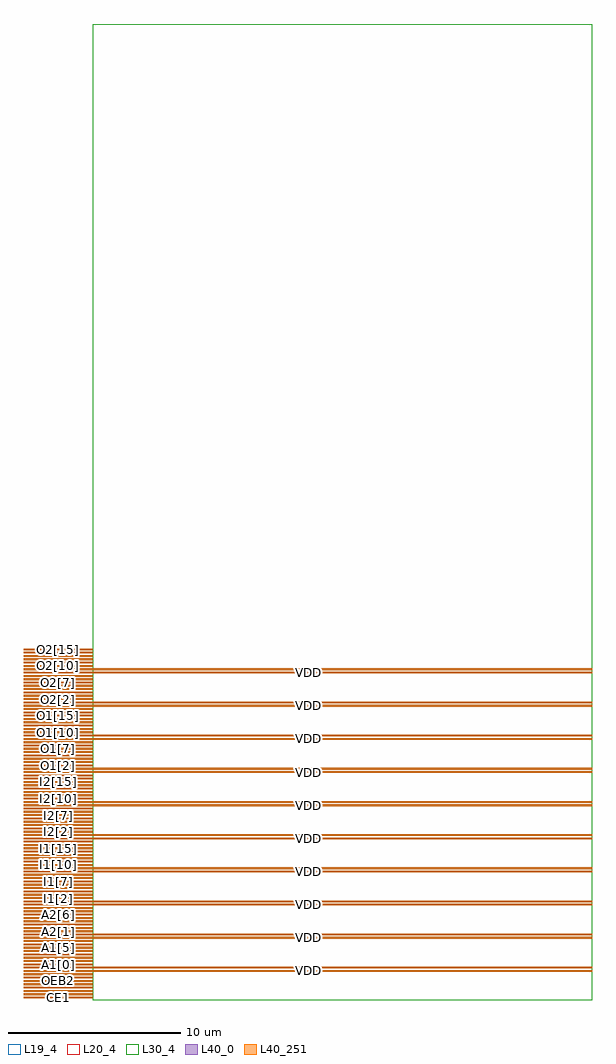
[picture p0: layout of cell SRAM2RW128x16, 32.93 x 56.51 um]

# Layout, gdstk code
import gdstk
lib = gdstk.Library(unit=1e-6, precision=1e-09)
def R(c, l, rs):  # rectangles x0, y0, x1, y1
    for r in rs: c.add(gdstk.rectangle(r[:2], r[2:], *l))
def A(c, l, x, y, w, h, nx, ny, dx, dy):  # array of equal rectangles
    R(c, l, [(x+i*dx, y+j*dy, x+i*dx+w, y+j*dy+h) for i in range(nx) for j in range(ny)])
L19_4 = (19, 4)
L20_4 = (20, 4)
L30_4 = (30, 4)
L40_0 = (40, 0)
L40_251 = (40, 251)

sram2rw128x16 = lib.new_cell('SRAM2RW128x16')
R(sram2rw128x16, L19_4, [(4,0,32.928,56.512)])
R(sram2rw128x16, L20_4, [(4,0,32.928,56.512)])
R(sram2rw128x16, L30_4, [(4,0,32.928,56.512)])
A(sram2rw128x16, L40_0, 0, 0.096, 4, 0.096, 1, 8, 0, 0.192)
A(sram2rw128x16, L40_0, 0, 2.016, 4, 0.096, 1, 8, 0, 0.192)
A(sram2rw128x16, L40_0, 0, 3.936, 4, 0.096, 1, 8, 0, 0.192)
A(sram2rw128x16, L40_0, 0, 5.856, 4, 0.096, 1, 8, 0, 0.192)
A(sram2rw128x16, L40_0, 0, 7.776, 4, 0.096, 1, 8, 0, 0.192)
A(sram2rw128x16, L40_0, 0, 9.696, 4, 0.096, 1, 8, 0, 0.192)
A(sram2rw128x16, L40_0, 0, 11.616, 4, 0.096, 1, 8, 0, 0.192)
A(sram2rw128x16, L40_0, 0, 13.536, 4, 0.096, 1, 8, 0, 0.192)
A(sram2rw128x16, L40_0, 0, 15.456, 4, 0.096, 1, 8, 0, 0.192)
A(sram2rw128x16, L40_0, 0, 17.376, 4, 0.096, 1, 8, 0, 0.192)
A(sram2rw128x16, L40_0, 0, 19.296, 4, 0.096, 1, 6, 0, 0.192)
R(sram2rw128x16, L40_0, [(0,1.632,32.928,1.728), (0,1.824,32.928,1.92), (0,3.552,32.928,3.648), (0,3.744,32.928,3.84), (0,5.472,32.928,5.568), (0,5.664,32.928,5.76), (0,7.392,32.928,7.488), (0,7.584,32.928,7.68), (0,9.312,32.928,9.408), (0,9.504,32.928,9.6), (0,11.232,32.928,11.328), (0,11.424,32.928,11.52), (0,13.152,32.928,13.248), (0,13.344,32.928,13.44), (0,15.072,32.928,15.168), (0,15.264,32.928,15.36), (0,16.992,32.928,17.088), (0,17.184,32.928,17.28), (0,18.912,32.928,19.008), (0,19.104,32.928,19.2)])
A(sram2rw128x16, L40_251, 0, 0.096, 4, 0.096, 1, 8, 0, 0.192)
A(sram2rw128x16, L40_251, 0, 2.016, 4, 0.096, 1, 8, 0, 0.192)
A(sram2rw128x16, L40_251, 0, 3.936, 4, 0.096, 1, 8, 0, 0.192)
A(sram2rw128x16, L40_251, 0, 5.856, 4, 0.096, 1, 8, 0, 0.192)
A(sram2rw128x16, L40_251, 0, 7.776, 4, 0.096, 1, 8, 0, 0.192)
A(sram2rw128x16, L40_251, 0, 9.696, 4, 0.096, 1, 8, 0, 0.192)
A(sram2rw128x16, L40_251, 0, 11.616, 4, 0.096, 1, 8, 0, 0.192)
A(sram2rw128x16, L40_251, 0, 13.536, 4, 0.096, 1, 8, 0, 0.192)
A(sram2rw128x16, L40_251, 0, 15.456, 4, 0.096, 1, 8, 0, 0.192)
A(sram2rw128x16, L40_251, 0, 17.376, 4, 0.096, 1, 8, 0, 0.192)
A(sram2rw128x16, L40_251, 0, 19.296, 4, 0.096, 1, 6, 0, 0.192)
R(sram2rw128x16, L40_251, [(0,1.632,32.928,1.728), (0,1.824,32.928,1.92), (0,3.552,32.928,3.648), (0,3.744,32.928,3.84), (0,5.472,32.928,5.568), (0,5.664,32.928,5.76), (0,7.392,32.928,7.488), (0,7.584,32.928,7.68), (0,9.312,32.928,9.408), (0,9.504,32.928,9.6), (0,11.232,32.928,11.328), (0,11.424,32.928,11.52), (0,13.152,32.928,13.248), (0,13.344,32.928,13.44), (0,15.072,32.928,15.168), (0,15.264,32.928,15.36), (0,16.992,32.928,17.088), (0,17.184,32.928,17.28), (0,18.912,32.928,19.008), (0,19.104,32.928,19.2)])
sram2rw128x16.add(gdstk.Label('CE1', (2,0.144), layer=40, texttype=0))
sram2rw128x16.add(gdstk.Label('CE2', (2,0.336), layer=40, texttype=0))
sram2rw128x16.add(gdstk.Label('WEB1', (2,0.528), layer=40, texttype=0))
sram2rw128x16.add(gdstk.Label('WEB2', (2,0.72), layer=40, texttype=0))
sram2rw128x16.add(gdstk.Label('OEB1', (2,0.912), layer=40, texttype=0))
sram2rw128x16.add(gdstk.Label('OEB2', (2,1.104), layer=40, texttype=0))
sram2rw128x16.add(gdstk.Label('CSB1', (2,1.296), layer=40, texttype=0))
sram2rw128x16.add(gdstk.Label('CSB2', (2,1.488), layer=40, texttype=0))
sram2rw128x16.add(gdstk.Label('A1[0]', (2,2.064), layer=40, texttype=0))
sram2rw128x16.add(gdstk.Label('A1[1]', (2,2.256), layer=40, texttype=0))
sram2rw128x16.add(gdstk.Label('A1[2]', (2,2.448), layer=40, texttype=0))
sram2rw128x16.add(gdstk.Label('A1[3]', (2,2.64), layer=40, texttype=0))
sram2rw128x16.add(gdstk.Label('A1[4]', (2,2.832), layer=40, texttype=0))
sram2rw128x16.add(gdstk.Label('A1[5]', (2,3.024), layer=40, texttype=0))
sram2rw128x16.add(gdstk.Label('A1[6]', (2,3.216), layer=40, texttype=0))
sram2rw128x16.add(gdstk.Label('A2[0]', (2,3.408), layer=40, texttype=0))
sram2rw128x16.add(gdstk.Label('A2[1]', (2,3.984), layer=40, texttype=0))
sram2rw128x16.add(gdstk.Label('A2[2]', (2,4.176), layer=40, texttype=0))
sram2rw128x16.add(gdstk.Label('A2[3]', (2,4.368), layer=40, texttype=0))
sram2rw128x16.add(gdstk.Label('A2[4]', (2,4.56), layer=40, texttype=0))
sram2rw128x16.add(gdstk.Label('A2[5]', (2,4.752), layer=40, texttype=0))
sram2rw128x16.add(gdstk.Label('A2[6]', (2,4.944), layer=40, texttype=0))
sram2rw128x16.add(gdstk.Label('I1[0]', (2,5.136), layer=40, texttype=0))
sram2rw128x16.add(gdstk.Label('I1[1]', (2,5.328), layer=40, texttype=0))
sram2rw128x16.add(gdstk.Label('I1[2]', (2,5.904), layer=40, texttype=0))
sram2rw128x16.add(gdstk.Label('I1[3]', (2,6.096), layer=40, texttype=0))
sram2rw128x16.add(gdstk.Label('I1[4]', (2,6.288), layer=40, texttype=0))
sram2rw128x16.add(gdstk.Label('I1[5]', (2,6.48), layer=40, texttype=0))
sram2rw128x16.add(gdstk.Label('I1[6]', (2,6.672), layer=40, texttype=0))
sram2rw128x16.add(gdstk.Label('I1[7]', (2,6.864), layer=40, texttype=0))
sram2rw128x16.add(gdstk.Label('I1[8]', (2,7.056), layer=40, texttype=0))
sram2rw128x16.add(gdstk.Label('I1[9]', (2,7.248), layer=40, texttype=0))
sram2rw128x16.add(gdstk.Label('I1[10]', (2,7.824), layer=40, texttype=0))
sram2rw128x16.add(gdstk.Label('I1[11]', (2,8.016), layer=40, texttype=0))
sram2rw128x16.add(gdstk.Label('I1[12]', (2,8.208), layer=40, texttype=0))
sram2rw128x16.add(gdstk.Label('I1[13]', (2,8.4), layer=40, texttype=0))
sram2rw128x16.add(gdstk.Label('I1[14]', (2,8.592), layer=40, texttype=0))
sram2rw128x16.add(gdstk.Label('I1[15]', (2,8.784), layer=40, texttype=0))
sram2rw128x16.add(gdstk.Label('I2[0]', (2,8.976), layer=40, texttype=0))
sram2rw128x16.add(gdstk.Label('I2[1]', (2,9.168), layer=40, texttype=0))
sram2rw128x16.add(gdstk.Label('I2[2]', (2,9.744), layer=40, texttype=0))
sram2rw128x16.add(gdstk.Label('I2[3]', (2,9.936), layer=40, texttype=0))
sram2rw128x16.add(gdstk.Label('I2[4]', (2,10.128), layer=40, texttype=0))
sram2rw128x16.add(gdstk.Label('I2[5]', (2,10.32), layer=40, texttype=0))
sram2rw128x16.add(gdstk.Label('I2[6]', (2,10.512), layer=40, texttype=0))
sram2rw128x16.add(gdstk.Label('I2[7]', (2,10.704), layer=40, texttype=0))
sram2rw128x16.add(gdstk.Label('I2[8]', (2,10.896), layer=40, texttype=0))
sram2rw128x16.add(gdstk.Label('I2[9]', (2,11.088), layer=40, texttype=0))
sram2rw128x16.add(gdstk.Label('I2[10]', (2,11.664), layer=40, texttype=0))
sram2rw128x16.add(gdstk.Label('I2[11]', (2,11.856), layer=40, texttype=0))
sram2rw128x16.add(gdstk.Label('I2[12]', (2,12.048), layer=40, texttype=0))
sram2rw128x16.add(gdstk.Label('I2[13]', (2,12.24), layer=40, texttype=0))
sram2rw128x16.add(gdstk.Label('I2[14]', (2,12.432), layer=40, texttype=0))
sram2rw128x16.add(gdstk.Label('I2[15]', (2,12.624), layer=40, texttype=0))
sram2rw128x16.add(gdstk.Label('O1[0]', (2,12.816), layer=40, texttype=0))
sram2rw128x16.add(gdstk.Label('O1[1]', (2,13.008), layer=40, texttype=0))
sram2rw128x16.add(gdstk.Label('O1[2]', (2,13.584), layer=40, texttype=0))
sram2rw128x16.add(gdstk.Label('O1[3]', (2,13.776), layer=40, texttype=0))
sram2rw128x16.add(gdstk.Label('O1[4]', (2,13.968), layer=40, texttype=0))
sram2rw128x16.add(gdstk.Label('O1[5]', (2,14.16), layer=40, texttype=0))
sram2rw128x16.add(gdstk.Label('O1[6]', (2,14.352), layer=40, texttype=0))
sram2rw128x16.add(gdstk.Label('O1[7]', (2,14.544), layer=40, texttype=0))
sram2rw128x16.add(gdstk.Label('O1[8]', (2,14.736), layer=40, texttype=0))
sram2rw128x16.add(gdstk.Label('O1[9]', (2,14.928), layer=40, texttype=0))
sram2rw128x16.add(gdstk.Label('O1[10]', (2,15.504), layer=40, texttype=0))
sram2rw128x16.add(gdstk.Label('O1[11]', (2,15.696), layer=40, texttype=0))
sram2rw128x16.add(gdstk.Label('O1[12]', (2,15.888), layer=40, texttype=0))
sram2rw128x16.add(gdstk.Label('O1[13]', (2,16.08), layer=40, texttype=0))
sram2rw128x16.add(gdstk.Label('O1[14]', (2,16.272), layer=40, texttype=0))
sram2rw128x16.add(gdstk.Label('O1[15]', (2,16.464), layer=40, texttype=0))
sram2rw128x16.add(gdstk.Label('O2[0]', (2,16.656), layer=40, texttype=0))
sram2rw128x16.add(gdstk.Label('O2[1]', (2,16.848), layer=40, texttype=0))
sram2rw128x16.add(gdstk.Label('O2[2]', (2,17.424), layer=40, texttype=0))
sram2rw128x16.add(gdstk.Label('O2[3]', (2,17.616), layer=40, texttype=0))
sram2rw128x16.add(gdstk.Label('O2[4]', (2,17.808), layer=40, texttype=0))
sram2rw128x16.add(gdstk.Label('O2[5]', (2,18), layer=40, texttype=0))
sram2rw128x16.add(gdstk.Label('O2[6]', (2,18.192), layer=40, texttype=0))
sram2rw128x16.add(gdstk.Label('O2[7]', (2,18.384), layer=40, texttype=0))
sram2rw128x16.add(gdstk.Label('O2[8]', (2,18.576), layer=40, texttype=0))
sram2rw128x16.add(gdstk.Label('O2[9]', (2,18.768), layer=40, texttype=0))
sram2rw128x16.add(gdstk.Label('O2[10]', (2,19.344), layer=40, texttype=0))
sram2rw128x16.add(gdstk.Label('O2[11]', (2,19.536), layer=40, texttype=0))
sram2rw128x16.add(gdstk.Label('O2[12]', (2,19.728), layer=40, texttype=0))
sram2rw128x16.add(gdstk.Label('O2[13]', (2,19.92), layer=40, texttype=0))
sram2rw128x16.add(gdstk.Label('O2[14]', (2,20.112), layer=40, texttype=0))
sram2rw128x16.add(gdstk.Label('O2[15]', (2,20.304), layer=40, texttype=0))
sram2rw128x16.add(gdstk.Label('VDD', (16.464,1.68), layer=40, texttype=0))
sram2rw128x16.add(gdstk.Label('VDD', (16.464,3.6), layer=40, texttype=0))
sram2rw128x16.add(gdstk.Label('VDD', (16.464,5.52), layer=40, texttype=0))
sram2rw128x16.add(gdstk.Label('VDD', (16.464,7.44), layer=40, texttype=0))
sram2rw128x16.add(gdstk.Label('VDD', (16.464,9.36), layer=40, texttype=0))
sram2rw128x16.add(gdstk.Label('VDD', (16.464,11.28), layer=40, texttype=0))
sram2rw128x16.add(gdstk.Label('VDD', (16.464,13.2), layer=40, texttype=0))
sram2rw128x16.add(gdstk.Label('VDD', (16.464,15.12), layer=40, texttype=0))
sram2rw128x16.add(gdstk.Label('VDD', (16.464,17.04), layer=40, texttype=0))
sram2rw128x16.add(gdstk.Label('VDD', (16.464,18.96), layer=40, texttype=0))
sram2rw128x16.add(gdstk.Label('VSS', (16.464,1.872), layer=40, texttype=0))
sram2rw128x16.add(gdstk.Label('VSS', (16.464,3.792), layer=40, texttype=0))
sram2rw128x16.add(gdstk.Label('VSS', (16.464,5.712), layer=40, texttype=0))
sram2rw128x16.add(gdstk.Label('VSS', (16.464,7.632), layer=40, texttype=0))
sram2rw128x16.add(gdstk.Label('VSS', (16.464,9.552), layer=40, texttype=0))
sram2rw128x16.add(gdstk.Label('VSS', (16.464,11.472), layer=40, texttype=0))
sram2rw128x16.add(gdstk.Label('VSS', (16.464,13.392), layer=40, texttype=0))
sram2rw128x16.add(gdstk.Label('VSS', (16.464,15.312), layer=40, texttype=0))
sram2rw128x16.add(gdstk.Label('VSS', (16.464,17.232), layer=40, texttype=0))
sram2rw128x16.add(gdstk.Label('VSS', (16.464,19.152), layer=40, texttype=0))

lib.write_gds('SRAM2RW128x16.gds')
